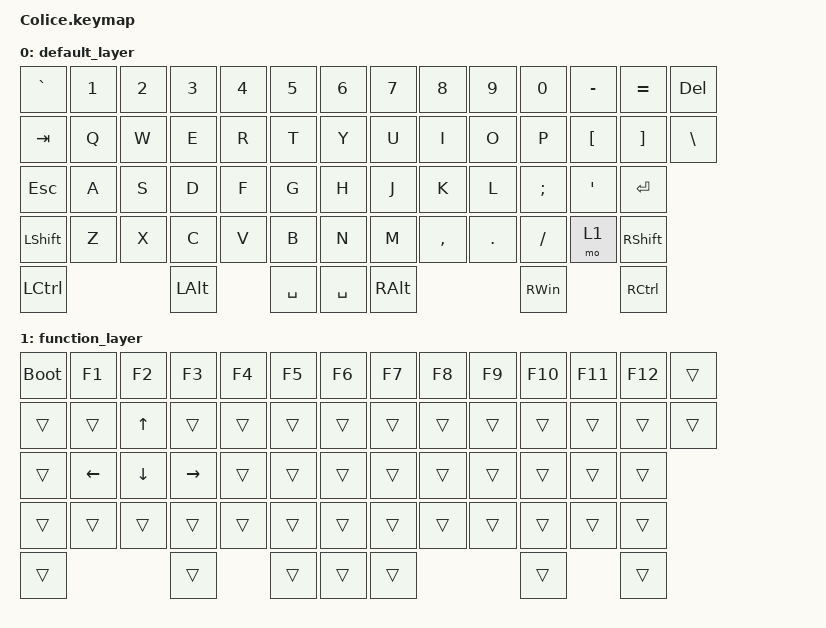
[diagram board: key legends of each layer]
#include <behaviors.dtsi>
#include <dt-bindings/zmk/keys.h>

/ {
    keymap {
        compatible = "zmk,keymap";

        default_layer {
            bindings = <
    &kp GRAVE       &kp N1       &kp N2       &kp N3       &kp N4       &kp N5       &kp N6       &kp N7       &kp N8       &kp N9       &kp N0       &kp MINUS    &kp EQUAL    &kp DELETE
    &kp TAB         &kp Q        &kp W        &kp E        &kp R        &kp T        &kp Y        &kp U        &kp I        &kp O        &kp P        &kp LBKT     &kp RBKT     &kp BACKSLASH
    &kp ESC         &kp A        &kp S        &kp D        &kp F        &kp G        &kp H        &kp J        &kp K        &kp L        &kp SEMI     &kp SQT      &kp ENTER
    &kp LSHFT       &kp Z        &kp X        &kp C        &kp V        &kp B        &kp N        &kp M        &kp COMMA    &kp DOT      &kp SLASH    &mo 1        &kp RSHIFT
    &kp LCTRL                                 &kp LALT                  &kp SPACE    &kp SPACE    &kp RALT                               &kp RWIN                  &kp RCTRL

            >;

        };

               function_layer {
                    bindings = <
    &bootloader     &kp F1       &kp F2          &kp F3          &kp F4       &kp F5       &kp F6       &kp F7       &kp F8       &kp F9       &kp F10      &kp F11      &kp F12      &trans
    &trans          &trans       &kp UP          &trans          &trans       &trans       &trans       &trans       &trans       &trans       &trans       &trans       &trans       &trans       
    &trans          &kp LEFT     &kp DOWN        &kp RIGHT       &trans       &trans       &trans       &trans       &trans       &trans       &trans       &trans       &trans
    &trans          &trans       &trans          &trans          &trans       &trans       &trans       &trans       &trans       &trans       &trans       &trans       &trans
    &trans                                       &trans                       &trans       &trans       &trans                                 &trans                    &trans
            >;
        };

    };

};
